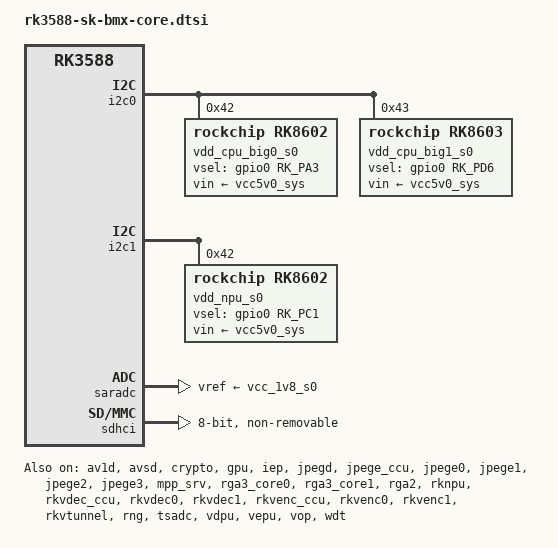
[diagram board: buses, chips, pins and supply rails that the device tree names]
// SPDX-License-Identifier: (GPL-2.0+ OR MIT)
/*
 * Copyright (c) 2025 Sergey Kharenko
 * Copyright (c) 2021 Rockchip Electronics Co., Ltd.
 */

 #include <dt-bindings/gpio/gpio.h>
 #include <dt-bindings/pwm/pwm.h>
 #include <dt-bindings/pinctrl/rockchip.h>
 #include <dt-bindings/input/rk-input.h>
 #include <dt-bindings/display/drm_mipi_dsi.h>
 #include <dt-bindings/display/rockchip_vop.h>
 #include <dt-bindings/sensor-dev.h>
 #include <dt-bindings/usb/pd.h>
 #include "rk3588.dtsi"
 #include "rk3588-rk806-single.dtsi"
 #include "rk3588-linux.dtsi"

/ {
    chosen: chosen {
		bootargs = "earlycon=uart8250,mmio32,0xfeb50000 console=ttyFIQ0 coherent_pool=1m irqchip.gicv3_pseudo_nmi=0";
	};
};

&av1d {
	status = "okay";
};

&av1d_mmu {
	status = "okay";
};

&avsd {
	status = "okay";
};

&cpu_l0 {
	cpu-supply = <&vdd_cpu_lit_s0>;
	mem-supply = <&vdd_cpu_lit_mem_s0>;
};

&cpu_b0 {
	cpu-supply = <&vdd_cpu_big0_s0>;
	mem-supply = <&vdd_cpu_big0_mem_s0>;
};

&cpu_b2 {
	cpu-supply = <&vdd_cpu_big1_s0>;
	mem-supply = <&vdd_cpu_big1_mem_s0>;
};

&crypto {
	status = "okay";
};

&gpu {
	mali-supply = <&vdd_gpu_s0>;
	mem-supply = <&vdd_gpu_mem_s0>;
	status = "okay";
};

&i2c0 {
    status = "okay";
    pinctrl-names = "default";
    pinctrl-0 = <&i2c0m2_xfer>;

    vdd_cpu_big0_s0: vdd_cpu_big0_mem_s0: rk8602@42 {
        compatible = "rockchip,rk8602";
        reg = <0x42>;
        vin-supply = <&vcc5v0_sys>;
        vsel-gpios = <&gpio0 RK_PA3 GPIO_ACTIVE_HIGH>;
        regulator-compatible = "rk860x-reg";
        regulator-name = "vdd_cpu_big0_s0";
        regulator-min-microvolt = <550000>;
        regulator-max-microvolt = <1050000>;
        regulator-ramp-delay = <2300>;
        rockchip,suspend-voltage-selector = <1>;
        regulator-boot-on;
        regulator-always-on;
        regulator-state-mem {
            regulator-off-in-suspend;
        };
    };

    vdd_cpu_big1_s0: vdd_cpu_big1_mem_s0: rk8603@43 {
        compatible = "rockchip,rk8603";
        reg = <0x43>;
        vin-supply = <&vcc5v0_sys>;
        vsel-gpios = <&gpio0 RK_PD6 GPIO_ACTIVE_HIGH>;
        regulator-compatible = "rk860x-reg";
        regulator-name = "vdd_cpu_big1_s0";
        regulator-min-microvolt = <550000>;
        regulator-max-microvolt = <1050000>;
        regulator-ramp-delay = <2300>;
        rockchip,suspend-voltage-selector = <1>;
        regulator-boot-on;
        regulator-always-on;
        regulator-state-mem {
            regulator-off-in-suspend;
        };
    };
};

&i2c1 {
    status = "okay";
        pinctrl-names = "default";
        pinctrl-0 = <&i2c1m2_xfer>;

    vdd_npu_s0: vdd_npu_mem_s0: rk8602@42 {
        compatible = "rockchip,rk8602";
        reg = <0x42>;
        vin-supply = <&vcc5v0_sys>;
        vsel-gpios = <&gpio0 RK_PC1 GPIO_ACTIVE_HIGH>;
        regulator-compatible = "rk860x-reg";
        regulator-name = "vdd_npu_s0";
        regulator-min-microvolt = <550000>;
        regulator-max-microvolt = <950000>;
        regulator-ramp-delay = <2300>;
        rockchip,suspend-voltage-selector = <1>;
        regulator-boot-on;
        regulator-always-on;
        regulator-state-mem {
            regulator-off-in-suspend;
        };
    };
};

&iep {
	status = "okay";
};

&iep_mmu {
	status = "okay";
};

&jpegd {
	status = "okay";
};

&jpegd_mmu {
	status = "okay";
};

&jpege_ccu {
	status = "okay";
};

&jpege0 {
	status = "okay";
};

&jpege0_mmu {
	status = "okay";
};

&jpege1 {
	status = "okay";
};

&jpege1_mmu {
	status = "okay";
};

&jpege2 {
	status = "okay";
};

&jpege2_mmu {
	status = "okay";
};

&jpege3 {
	status = "okay";
};

&jpege3_mmu {
	status = "okay";
};

&mpp_srv {
	status = "okay";
};

&rga3_core0 {
	status = "okay";
};

&rga3_0_mmu {
	status = "okay";
};

&rga3_core1 {
	status = "okay";
};

&rga3_1_mmu {
	status = "okay";
};

&rga2 {
	status = "okay";
};

&rknpu {
    status = "okay";
	rknpu-supply = <&vdd_npu_s0>;
	mem-supply = <&vdd_npu_mem_s0>;
};

&rknpu_mmu {
	status = "okay";
};

&rkvdec_ccu {
	status = "okay";
};

&rkvdec0 {
	status = "okay";
};

&rkvdec0_mmu {
	status = "okay";
};

&rkvdec1 {
	status = "okay";
};

&rkvdec1_mmu {
	status = "okay";
};

&rkvenc_ccu {
	status = "okay";
};

&rkvenc0 {
	venc-supply = <&vdd_vdenc_s0>;
	mem-supply = <&vdd_vdenc_mem_s0>;
	status = "okay";
};

&rkvenc0_mmu {
	status = "okay";
};

&rkvenc1 {
	venc-supply = <&vdd_vdenc_s0>;
	mem-supply = <&vdd_vdenc_mem_s0>;
	status = "okay";
};

&rkvenc1_mmu {
	status = "okay";
};

&rkvtunnel {
	status = "okay";
};

&rng {
	status = "okay";
};

&rockchip_suspend {
	status = "okay";
	rockchip,sleep-debug-en = <1>;
	rockchip,sleep-mode-config = <
		(0
		| RKPM_SLP_ARMOFF_DDRPD
		)
	>;
	rockchip,wakeup-config = <
		(0
		| RKPM_CPU0_WKUP_EN
		| RKPM_GPIO_WKUP_EN
		)
	>;
};

&saradc {
	status = "okay";
	vref-supply = <&vcc_1v8_s0>;
};

&sdhci {
    status = "okay";
    bus-width = <8>;
    no-sdio;
    no-sd;
    non-removable;
    max-frequency = <200000000>;
    mmc-hs400-1_8v;
    mmc-hs400-enhanced-strobe;
    full-pwr-cycle-in-suspend;
};

&tsadc {
	status = "okay";
};

&vdpu {
	status = "okay";
};

&vdpu_mmu {
	status = "okay";
};

&vepu {
	status = "okay";
};

&vdd_log_s0 {
	regulator-state-mem {
		regulator-on-in-suspend;
		regulator-suspend-microvolt = <750000>;
	};
};

&vop {
	status = "okay";
    assigned-clocks = <&cru ACLK_VOP>;
	assigned-clock-rates = <800000000>;
	vop-supply = <&vdd_log_s0>;
	support-multi-area;
	disable-win-move;
};

&vop_mmu {
	status = "okay";
};

/* vp0 & vp1 splice for 8K output */
&vp0 {
	cursor-win-id=<ROCKCHIP_VOP2_ESMART0>;
	rockchip,plane-mask = <(1 << ROCKCHIP_VOP2_CLUSTER0 | 1 << ROCKCHIP_VOP2_ESMART0)>;
	rockchip,primary-plane = <ROCKCHIP_VOP2_CLUSTER0>;
};

&vp1 {
	cursor-win-id=<ROCKCHIP_VOP2_ESMART1>;
	rockchip,plane-mask = <(1 << ROCKCHIP_VOP2_CLUSTER1 | 1 << ROCKCHIP_VOP2_ESMART1)>;
	rockchip,primary-plane = <ROCKCHIP_VOP2_CLUSTER1>;
};

&vp2 {
	cursor-win-id=<ROCKCHIP_VOP2_ESMART2>;
	rockchip,plane-mask = <(1 << ROCKCHIP_VOP2_CLUSTER2 | 1 << ROCKCHIP_VOP2_ESMART2)>;
	rockchip,primary-plane = <ROCKCHIP_VOP2_CLUSTER2>;
};

&vp3 {
	cursor-win-id=<ROCKCHIP_VOP2_ESMART3>;
	rockchip,plane-mask = <(1 << ROCKCHIP_VOP2_CLUSTER3 | 1 << ROCKCHIP_VOP2_ESMART3)>;
	rockchip,primary-plane = <ROCKCHIP_VOP2_CLUSTER3>;
};

&wdt {
	status = "okay";
};
